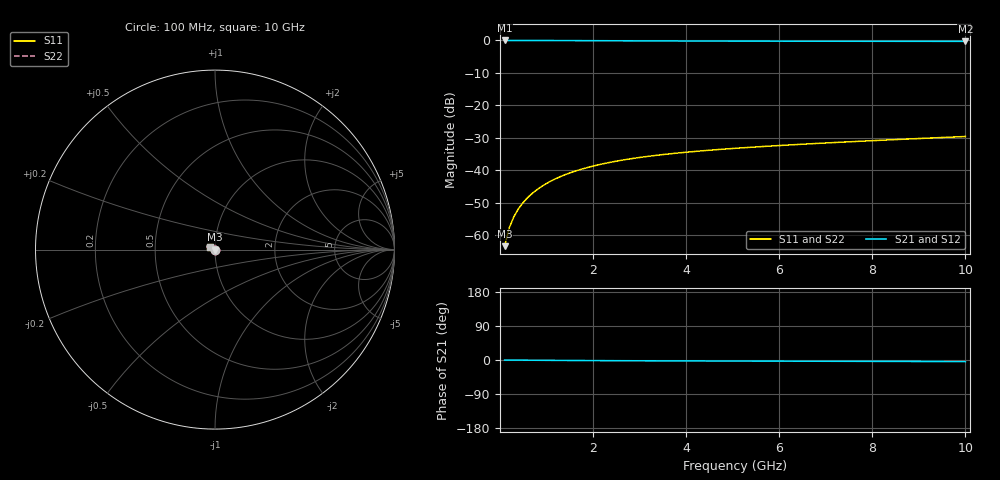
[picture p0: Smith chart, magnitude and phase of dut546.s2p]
! Touchstone file exported from HFSS 2024.1.0
!  File:  C:/UserFiles/LocalFiles/RDL_TSV_Batchsim/temp_TSV1_546_1779705813.aedt
!  Generated:  06:50:00 PM May 25, 2026
!  Design:  TSV1
!  Project:  temp_TSV1_546_1779705813
!  Setup:  Setup1
!  Solution:  Sweep
! Variables:
!  dtsv = 7.5um
!  hbump = 3um
!  htsv = 60.38um
!  lrdl = 252.1521522um
!  p = 40
!  p1 = 54.75um
!  t = 500um
!  trdl = 3um
!  wrdl = 24.89489489um
# GHz S MA R 50.000000
! Terminal data exported
! Port[1] = TSV22_T1
! Port[2] = TSV22_T2
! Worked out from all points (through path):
!   100 points, 100 MHz to 10 GHz, reference 50 ohm
!   highest |S21| = 0.00 dB at 100 MHz (marker M1); lowest = -0.3 dB at 10 GHz (marker M2)
!   lowest |S11| = -63.4 dB at 100 MHz (marker M3), VSWR 1.00, Z = 50 - j0.065 ohm
!   |S11| at or under -10 dB: start of sweep to end of sweep
!   |S22| runs from -63.4 to -29.6 dB; largest |S21 - S12| = 3.5e-15
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0.1  0.0006768 -73.6  0.9998 -0.1  0.9998 -0.1  0.0006768 -73.6
! Gamma 0 0 0 0
! Port Impedance 50 0 50 0
0.2  0.001299 -85.1  0.9997 -0.2  0.9997 -0.2  0.001299 -85.1
0.3  0.001932 -90.6  0.9995 -0.3  0.9995 -0.3  0.001932 -90.6
0.4  0.002565 -94.5  0.9993 -0.4  0.9993 -0.4  0.002565 -94.5
0.5  0.003195 -97.7  0.9991 -0.5  0.9991 -0.5  0.003195 -97.7
0.6  0.003822 -100.6  0.9988 -0.5  0.9988 -0.5  0.003822 -100.6
0.7  0.004442 -103.3  0.9985 -0.6  0.9985 -0.6  0.004442 -103.3
0.8  0.005056 -105.9  0.9981 -0.7  0.9981 -0.7  0.005056 -105.9
0.9  0.005662 -108.3  0.9977 -0.8  0.9977 -0.8  0.005662 -108.3
1.1  0.006846 -113.0  0.9967 -0.9  0.9967 -0.9  0.006846 -113.0
1.4  0.00854 -119.6  0.9952 -1.2  0.9952 -1.2  0.00854 -119.6
1.6  0.00961 -123.8  0.994 -1.3  0.994 -1.3  0.00961 -123.8
1.8  0.01063 -127.8  0.9929 -1.4  0.9929 -1.4  0.01063 -127.8
2.1  0.01206 -133.5  0.991 -1.6  0.991 -1.6  0.01206 -133.5
2.5  0.0138 -140.6  0.9886 -1.8  0.9886 -1.8  0.0138 -140.6
2.9  0.01537 -147.2  0.9863 -2.0  0.9863 -2.0  0.01537 -147.2
3.4  0.01711 -154.7  0.9837 -2.2  0.9837 -2.2  0.01711 -154.7
4.2  0.01953 -165.3  0.9801 -2.5  0.9801 -2.5  0.01953 -165.3
5.1  0.02189 -175.5  0.9769 -2.8  0.9769 -2.8  0.02189 -175.5
6.7  0.02564 169.9  0.9729 -3.3  0.9729 -3.3  0.02564 169.9
8.4  0.02946 158.0  0.9701 -3.8  0.9701 -3.8  0.02946 158.0
10  0.03312 149.1  0.9683 -4.2  0.9683 -4.2  0.03312 149.1
